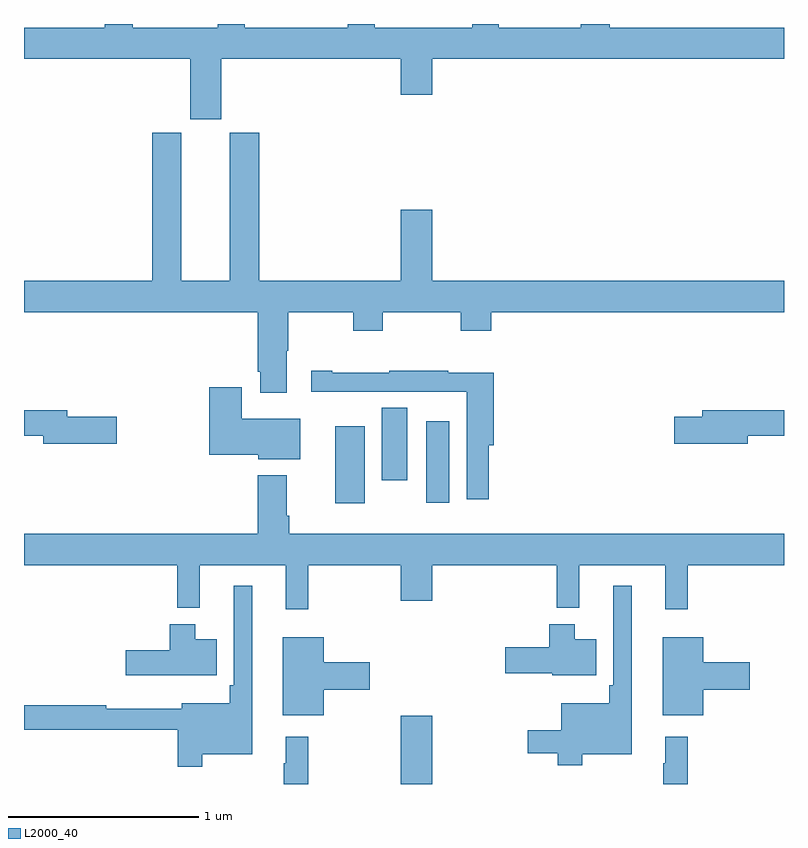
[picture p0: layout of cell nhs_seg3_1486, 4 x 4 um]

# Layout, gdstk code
import gdstk
lib = gdstk.Library(unit=1e-6, precision=1e-09)
def R(c, l, rs):  # rectangles x0, y0, x1, y1
    for r in rs: c.add(gdstk.rectangle(r[:2], r[2:], *l))
def P(c, l, *ps):  # polygons
    for p in ps: c.add(gdstk.Polygon(p, *l))
L2000_40 = (2000, 40)

nhs_seg3_1486 = lib.new_cell('nhs_seg3_1486')
R(nhs_seg3_1486, L2000_40, [(188.984,730.4,189.148,730.759), (188.639,731.877,188.794,732.283), (189.116,731.88,189.238,732.31), (188.882,732,189.016,732.38)])
P(nhs_seg3_1486, L2000_40, [(188.038,734.216),(188.984,734.216),(188.984,734.028),(189.148,734.028),(189.148,734.216),(191,734.216),(191,734.38),(190.082,734.38),(190.082,734.4),(189.929,734.4),(189.929,734.38),(189.499,734.38),(189.499,734.4),(189.359,734.4),(189.359,734.38),(188.845,734.38),(188.845,734.4),(188.705,734.4),(188.705,734.38),(188.161,734.38),(188.161,734.4),(188.021,734.4),(188.021,734.38),(187.573,734.38),(187.573,734.4),(187.426,734.4),(187.426,734.38),(187,734.38),(187,734.216),(187.874,734.216),(187.874,733.899),(188.038,733.899)],
  [(188.383,732.68),(188.391,732.68),(188.391,732.884),(188.734,732.884),(188.734,732.785),(188.889,732.785),(188.889,732.884),(189.298,732.884),(189.298,732.785),(189.458,732.785),(189.458,732.884),(191,732.884),(191,733.048),(189.148,733.048),(189.148,733.423),(188.984,733.423),(188.984,733.048),(188.237,733.048),(188.237,733.827),(188.084,733.827),(188.084,733.048),(187.828,733.048),(187.828,733.827),(187.676,733.827),(187.676,733.048),(187,733.048),(187,732.884),(188.231,732.884),(188.231,732.571),(188.243,732.571),(188.243,732.459),(188.383,732.459)],
  [(189.446,732.182),(189.473,732.182),(189.473,732.564),(189.233,732.564),(189.233,732.574),(188.923,732.574),(188.923,732.564),(188.623,732.564),(188.623,732.574),(188.511,732.574),(188.511,732.464),(188.786,732.464),(188.786,732.465),(189.12,732.465),(189.12,732.464),(189.33,732.464),(189.33,731.898),(189.446,731.898)],
  [(188.455,732.322),(188.146,732.322),(188.146,732.487),(187.976,732.487),(187.976,732.134),(188.232,732.134),(188.232,732.11),(188.455,732.11)],
  [(187.489,732.332),(187.228,732.332),(187.228,732.368),(187,732.368),(187,732.232),(187.1,732.232),(187.1,732.19),(187.489,732.19)],
  [(190.81,732.232),(191,732.232),(191,732.368),(190.571,732.368),(190.571,732.332),(190.422,732.332),(190.422,732.19),(190.81,732.19)],
  [(188.495,731.552),(188.984,731.552),(188.984,731.364),(189.148,731.364),(189.148,731.552),(189.805,731.552),(189.805,731.327),(189.923,731.327),(189.923,731.552),(190.376,731.552),(190.376,731.319),(190.493,731.319),(190.493,731.552),(191,731.552),(191,731.716),(188.396,731.716),(188.396,731.812),(188.383,731.812),(188.383,732.025),(188.231,732.025),(188.231,731.716),(187,731.716),(187,731.552),(187.807,731.552),(187.807,731.327),(187.925,731.327),(187.925,731.552),(188.378,731.552),(188.378,731.319),(188.495,731.319)],
  [(189.937,730.556),(190.198,730.556),(190.198,731.443),(190.101,731.443),(190.101,730.921),(190.081,730.921),(190.081,730.825),(189.827,730.825),(189.827,730.684),(189.651,730.684),(189.651,730.562),(189.808,730.562),(189.808,730.499),(189.937,730.499)],
  [(187.939,730.556),(188.2,730.556),(188.2,731.443),(188.103,731.443),(188.103,730.921),(188.083,730.921),(188.083,730.825),(187.829,730.825),(187.829,730.795),(187.433,730.795),(187.433,730.814),(187,730.814),(187,730.686),(187.81,730.686),(187.81,730.491),(187.939,730.491)],
  [(188.014,731.161),(187.9,731.161),(187.9,731.242),(187.766,731.242),(187.766,731.103),(187.536,731.103),(187.536,730.973),(188.014,730.973)],
  [(190.012,731.161),(189.898,731.161),(189.898,731.242),(189.764,731.242),(189.764,731.121),(189.534,731.121),(189.534,730.984),(189.78,730.984),(189.78,730.973),(190.012,730.973)],
  [(188.578,730.895),(188.821,730.895),(188.821,731.042),(188.578,731.042),(188.578,731.173),(188.363,731.173),(188.363,730.763),(188.578,730.763)],
  [(190.576,730.895),(190.819,730.895),(190.819,731.042),(190.576,731.042),(190.576,731.173),(190.361,731.173),(190.361,730.763),(190.576,730.763)],
  [(190.493,730.648),(190.376,730.648),(190.376,730.508),(190.365,730.508),(190.365,730.4),(190.493,730.4)],
  [(188.495,730.648),(188.378,730.648),(188.378,730.508),(188.367,730.508),(188.367,730.4),(188.495,730.4)])

lib.write_gds('nhs_seg3_1486.gds')
